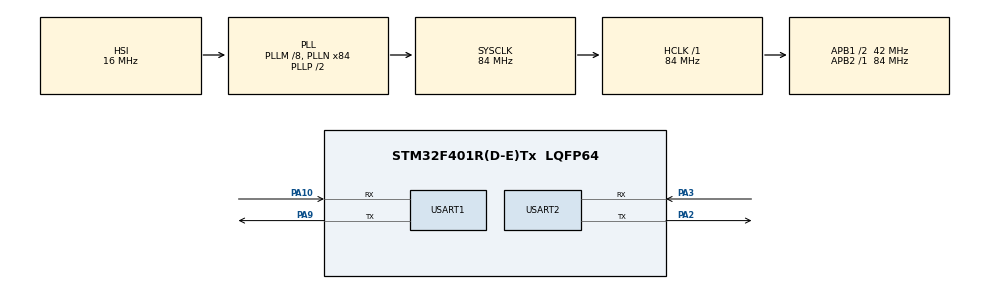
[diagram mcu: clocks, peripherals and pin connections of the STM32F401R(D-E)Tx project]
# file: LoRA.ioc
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Mcu.Family=STM32F4
Mcu.Name=STM32F401R(D-E)Tx
Mcu.Package=LQFP64
NVIC.PriorityGroup=NVIC_PRIORITYGROUP_4
NVIC.USART1_IRQn=true\:0\:0\:false\:false\:true\:true\:true\:true
NVIC.USART2_IRQn=true\:0\:0\:false\:false\:true\:true\:true\:true
PA10.Mode=Asynchronous
PA10.Signal=USART1_RX
PA13.Mode=Serial_Wire
PA13.Signal=SYS_JTMS-SWDIO
PA14.Mode=Serial_Wire
PA14.Signal=SYS_JTCK-SWCLK
PA2.Mode=Asynchronous
PA2.Signal=USART2_TX
PA3.Mode=Asynchronous
PA3.Signal=USART2_RX
PA9.Mode=Asynchronous
PA9.Signal=USART1_TX
ProjectManager.HeapSize=0x200
ProjectManager.StackSize=0x400
ProjectManager.TargetToolchain=STM32CubeIDE
RCC.48MHZClocksFreq_Value=42000000
RCC.AHBFreq_Value=84000000
RCC.APB1CLKDivider=RCC_HCLK_DIV2
RCC.APB1Freq_Value=42000000
RCC.APB1TimFreq_Value=84000000
RCC.APB2Freq_Value=84000000
RCC.APB2TimFreq_Value=84000000
RCC.CortexFreq_Value=84000000
RCC.HCLKFreq_Value=84000000
RCC.HSE_VALUE=25000000
RCC.HSI_VALUE=16000000
RCC.LSE_VALUE=32768
RCC.PLLM=8
RCC.PLLN=84
RCC.SYSCLKFreq_VALUE=84000000
RCC.SYSCLKSource=RCC_SYSCLKSOURCE_PLLCLK
RCC.VCOOutputFreq_Value=168000000
USART1.VirtualMode=VM_ASYNC
USART2.VirtualMode=VM_ASYNC
board=custom

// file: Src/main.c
/* USER CODE BEGIN Header */
/**
  ******************************************************************************
  * @file           : main.c
  * @brief          : Main program body
  ******************************************************************************
  * @attention
  *
  * Copyright (c) 2025 STMicroelectronics.
  * All rights reserved.
  *
  * This software is licensed under terms that can be found in the LICENSE file
  * in the root directory of this software component.
  * If no LICENSE file comes with this software, it is provided AS-IS.
  *
  ******************************************************************************
  */
/* USER CODE END Header */
#include "main.h"

/* USER CODE BEGIN Includes */
#include "stdio.h"
#include "stdlib.h"
#include "string.h"
#include "stdarg.h"
#include "LoRA.h"

/* USER CODE END Includes */

UART_HandleTypeDef huart1;
UART_HandleTypeDef huart2;

void SystemClock_Config(void);
static void MX_GPIO_Init(void);
static void MX_USART1_UART_Init(void);
static void MX_USART2_UART_Init(void);

/* USER CODE BEGIN 0 */
void myprintf(const char *fmt, ...);

void myprintf(const char *fmt, ...) {
  static char buffer[256];
  va_list args;
  va_start(args, fmt);
  vsnprintf(buffer, sizeof(buffer), fmt, args);
  va_end(args);

  int len = strlen(buffer);
  HAL_UART_Transmit(&huart2, (uint8_t*)buffer, len, -1);

}
/* USER CODE END 0 */

int main(void)
{

  /* MCU Configuration--------------------------------------------------------*/

  /* Reset of all peripherals, Initializes the Flash interface and the Systick. */
  HAL_Init();

  /* Configure the system clock */
  SystemClock_Config();

  /* Initialize all configured peripherals */
  MX_GPIO_Init();
  MX_USART1_UART_Init();
  MX_USART2_UART_Init();
  /* USER CODE BEGIN 2 */
  myprintf("STM32 LoRA example Started!\n");

  int ret = test_connection(&huart1);
  if (ret){
	  char *uid = get_UID(&huart1);
	  char *version = get_version(&huart1);

	  myprintf("LoRA module ready!\n");
	  myprintf("UID: %s\n", uid ? uid : "Unknown");
	  myprintf("Version: %s\n", version ? version : "Unknown");
  } else {
	  myprintf("Cannot comunicate with LoRA module\n");
	  while(1);
  }

  /*
  if(factory_reset(&huart1)){
	  myprintf("Factory reset successful\n");
  } else {
	  myprintf("Failed to reset LoRa module\n");
  }
  */
  uint32_t trans_frequency = 868500000;
  if(set_transmission_freq(&huart1, trans_frequency)){
	  myprintf("Transmission frequency set to %lu\n", trans_frequency);
  } else {
	  myprintf("Failed to set transmission frequency\n");
  }

  uint8_t network_id = 6;
  if(set_network_id(&huart1, network_id)){
	  myprintf("Network ID set to %d\n", network_id);
  } else {
	  myprintf("Failed to set Network ID\n");
  }

  uint8_t address = 1;

  if(set_address(&huart1, address)){
	  myprintf("Address set to %d\n", address);
  } else {
	  myprintf("Failed to set Address\n");
  }

  uint8_t mode = 0;
  if(set_mode(&huart1, mode)){
	  myprintf("Mode set to %d\n", mode);
  } else {
	  myprintf("Failed to set Mode\n");
  }

  uint8_t rcv_address = 0;
  if(send_data(&huart1, rcv_address, "Hello LoRa!")){
	  myprintf("Data sent successfully\n");
  } else {
	  myprintf("Failed to send data\n");
  }

  size_t send_interval = 5000; // 5 second
  size_t last_send_time = HAL_GetTick();

  myprintf("Ready to receive data...\n");
  /* USER CODE END 2 */

  /* Infinite loop */
  while (1)
  {

	  // send ping every 5 seconds
	  if (HAL_GetTick() - last_send_time >= send_interval) {
		  if(send_data(&huart1, rcv_address, "Ping")){
			  myprintf("Ping sent successfully\n");
		  } else {
			  myprintf("Failed to send Ping\n");
		  }
		  last_send_time = HAL_GetTick();
	  }

	  // receive data
	  struct rcv_data data = receive_data(&huart1);
	  if (data.length > 0) {
		  myprintf("Received data from address %d: %s (RSSI: %d, SNR: %d)\n",
			  data.address, data.payload, data.rssi, data.snr);
	  }

  }
}

void SystemClock_Config(void)
{
  RCC_OscInitTypeDef RCC_OscInitStruct = {0};
  RCC_ClkInitTypeDef RCC_ClkInitStruct = {0};

  /** Configure the main internal regulator output voltage
  */
  __HAL_RCC_PWR_CLK_ENABLE();
  __HAL_PWR_VOLTAGESCALING_CONFIG(PWR_REGULATOR_VOLTAGE_SCALE2);

  /** Initializes the RCC Oscillators according to the specified parameters
  * in the RCC_OscInitTypeDef structure.
  */
  RCC_OscInitStruct.OscillatorType = RCC_OSCILLATORTYPE_HSI;
  RCC_OscInitStruct.HSIState = RCC_HSI_ON;
  RCC_OscInitStruct.HSICalibrationValue = RCC_HSICALIBRATION_DEFAULT;
  RCC_OscInitStruct.PLL.PLLState = RCC_PLL_ON;
  RCC_OscInitStruct.PLL.PLLSource = RCC_PLLSOURCE_HSI;
  RCC_OscInitStruct.PLL.PLLM = 8;
  RCC_OscInitStruct.PLL.PLLN = 84;
  RCC_OscInitStruct.PLL.PLLP = RCC_PLLP_DIV2;
  RCC_OscInitStruct.PLL.PLLQ = 4;
  if (HAL_RCC_OscConfig(&RCC_OscInitStruct) != HAL_OK)
  {
    Error_Handler();
  }

  /** Initializes the CPU, AHB and APB buses clocks
  */
  RCC_ClkInitStruct.ClockType = RCC_CLOCKTYPE_HCLK|RCC_CLOCKTYPE_SYSCLK
                              |RCC_CLOCKTYPE_PCLK1|RCC_CLOCKTYPE_PCLK2;
  RCC_ClkInitStruct.SYSCLKSource = RCC_SYSCLKSOURCE_PLLCLK;
  RCC_ClkInitStruct.AHBCLKDivider = RCC_SYSCLK_DIV1;
  RCC_ClkInitStruct.APB1CLKDivider = RCC_HCLK_DIV2;
  RCC_ClkInitStruct.APB2CLKDivider = RCC_HCLK_DIV1;

  if (HAL_RCC_ClockConfig(&RCC_ClkInitStruct, FLASH_LATENCY_2) != HAL_OK)
  {
    Error_Handler();
  }
}

static void MX_USART1_UART_Init(void)
{

  huart1.Instance = USART1;
  huart1.Init.BaudRate = 115200;
  huart1.Init.WordLength = UART_WORDLENGTH_8B;
  huart1.Init.StopBits = UART_STOPBITS_1;
  huart1.Init.Parity = UART_PARITY_NONE;
  huart1.Init.Mode = UART_MODE_TX_RX;
  huart1.Init.HwFlowCtl = UART_HWCONTROL_NONE;
  huart1.Init.OverSampling = UART_OVERSAMPLING_16;
  if (HAL_UART_Init(&huart1) != HAL_OK)
  {
    Error_Handler();
  }

}

static void MX_USART2_UART_Init(void)
{

  huart2.Instance = USART2;
  huart2.Init.BaudRate = 115200;
  huart2.Init.WordLength = UART_WORDLENGTH_8B;
  huart2.Init.StopBits = UART_STOPBITS_1;
  huart2.Init.Parity = UART_PARITY_NONE;
  huart2.Init.Mode = UART_MODE_TX_RX;
  huart2.Init.HwFlowCtl = UART_HWCONTROL_NONE;
  huart2.Init.OverSampling = UART_OVERSAMPLING_16;
  if (HAL_UART_Init(&huart2) != HAL_OK)
  {
    Error_Handler();
  }

}

static void MX_GPIO_Init(void)
{

  /* GPIO Ports Clock Enable */
  __HAL_RCC_GPIOA_CLK_ENABLE();

}

void Error_Handler(void)
{
  __disable_irq();
  while (1)
  {
  }
}
